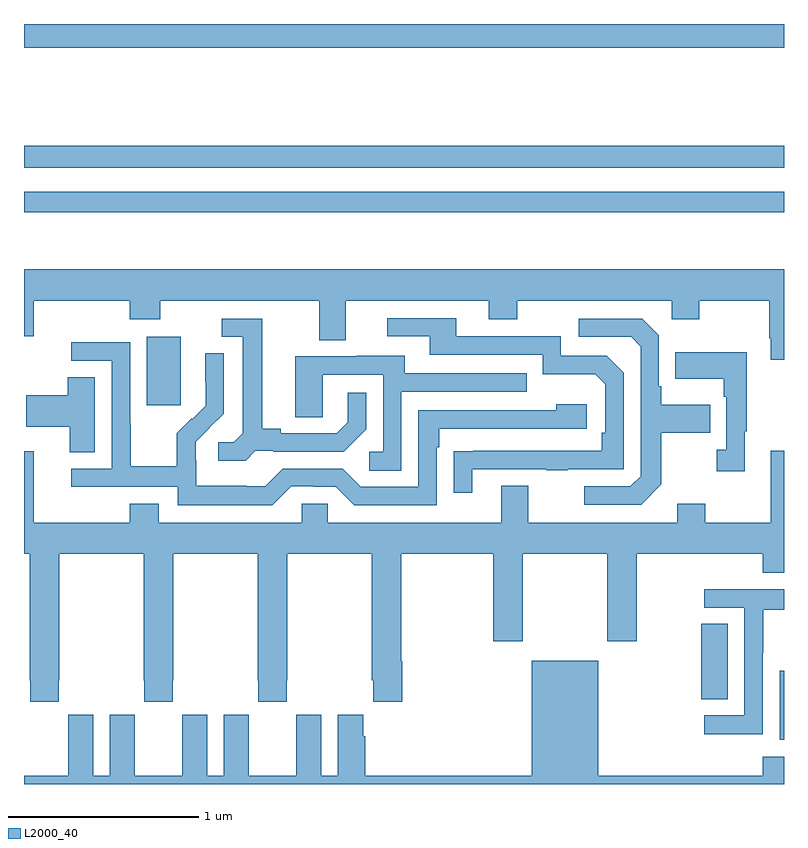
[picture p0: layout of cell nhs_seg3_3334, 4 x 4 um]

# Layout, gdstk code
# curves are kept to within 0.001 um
import gdstk
lib = gdstk.Library(unit=1e-6, precision=1e-09)
def R(c, l, rs):  # rectangles x0, y0, x1, y1
    for r in rs: c.add(gdstk.rectangle(r[:2], r[2:], *l))
def P(c, l, *ps):  # polygons
    for p in ps: c.add(gdstk.Polygon(p, *l))
L2000_40 = (2000, 40)

nhs_seg3_3334 = lib.new_cell('nhs_seg3_3334')
R(nhs_seg3_3334, L2000_40, [(288.977,670.634,289,670.995), (288.565,670.846,288.703,671.243), (285.647,672.393,285.826,672.754), (285,673.41,289,673.518), (285,673.644,289,673.76), (285,674.276,289,674.4)])
P(nhs_seg3_3334, L2000_40, [(285,672.756),(285.052,672.756),(285.052,672.944),(285.557,672.944),(285.557,672.845),(285.717,672.845),(285.717,672.944),(286.553,672.944),(286.553,672.736),(286.693,672.736),(286.693,672.944),(287.447,672.944),(287.447,672.845),(287.595,672.845),(287.595,672.944),(288.408,672.944),(288.408,672.845),(288.555,672.845),(288.555,672.944),(288.922,672.944),(288.922,672.745),(288.929,672.745),(288.929,672.633),(289,672.633),(289,673.108),(285,673.108)],
  [(287.359,672.057),(287.749,672.057),(287.749,672.052),(287.861,672.052),(287.861,672.057),(288.156,672.057),(288.156,672.564),(288.066,672.654),(287.826,672.654),(287.826,672.756),(287.275,672.756),(287.275,672.852),(286.911,672.852),(286.911,672.756),(287.135,672.756),(287.135,672.66),(287.73,672.66),(287.73,672.557),(288.007,672.557),(288.06,672.504),(288.06,672.25),(288.04,672.25),(288.04,672.153),(287.263,672.152),(287.263,671.934),(287.359,671.934)],
  [(288.355,671.977),(288.355,672.25),(288.611,672.25),(288.611,672.397),(288.355,672.397),(288.355,672.493),(288.342,672.493),(288.342,672.762),(288.255,672.849),(287.919,672.849),(287.919,672.753),(288.195,672.753),(288.246,672.702),(288.246,672.021),(288.192,671.967),(287.949,671.967),(287.949,671.871),(288.249,671.871)],
  [(286.218,672.153),(286.312,672.153),(286.312,672.15),(286.684,672.15),(286.8,672.266),(286.8,672.46),(286.703,672.46),(286.703,672.303),(286.646,672.246),(286.351,672.246),(286.351,672.269),(286.255,672.269),(286.255,672.849),(286.041,672.849),(286.041,672.753),(286.151,672.753),(286.151,672.245),(286.104,672.198),(286.023,672.198),(286.023,672.101),(286.166,672.101)],
  [(286.407,671.967),(286.523,671.967),(286.523,671.964),(286.641,671.964),(286.737,671.868),(287.172,671.868),(287.172,672.173),(287.185,672.173),(287.185,672.27),(287.962,672.27),(287.962,672.4),(287.801,672.4),(287.801,672.366),(287.076,672.366),(287.076,671.964),(286.773,671.964),(286.677,672.06),(286.362,672.06),(286.269,671.967),(286.169,671.967),(286.169,671.971),(285.906,671.971),(285.906,672.105),(285.904,672.105),(285.904,672.202),(286.05,672.35),(286.05,672.668),(285.954,672.668),(285.954,672.514),(285.956,672.514),(285.956,672.392),(285.885,672.321),(285.882,672.324),(285.805,672.247),(285.805,672.073),(285.561,672.073),(285.561,672.296),(285.558,672.296),(285.558,672.726),(285.249,672.726),(285.249,672.627),(285.462,672.627),(285.462,672.06),(285.249,672.06),(285.249,671.964),(285.81,671.964),(285.81,671.867),(286.307,671.867)],
  [(288.793,672.257),(288.805,672.257),(288.805,672.673),(288.427,672.673),(288.427,672.533),(288.684,672.533),(288.684,672.437),(288.696,672.437),(288.696,672.158),(288.645,672.158),(288.645,672.045),(288.793,672.045)],
  [(286.986,672.465),(287.645,672.465),(287.645,672.561),(287.005,672.561),(287.005,672.655),(286.751,672.655),(286.751,672.651),(286.427,672.651),(286.427,672.331),(286.572,672.331),(286.572,672.555),(286.89,672.555),(286.89,672.15),(286.818,672.15),(286.818,672.049),(286.986,672.049)],
  [(285.373,672.542),(285.23,672.542),(285.23,672.447),(285.012,672.447),(285.012,672.281),(285.242,672.281),(285.242,672.145),(285.373,672.145)],
  [(285.709,671.875),(285.557,671.875),(285.557,671.776),(285.052,671.776),(285.052,672.151),(285,672.151),(285,671.612),(285.031,671.612),(285.031,670.945),(285.033,670.945),(285.033,670.833),(285.183,670.833),(285.183,670.945),(285.186,670.945),(285.186,671.612),(285.631,671.612),(285.631,670.945),(285.633,670.945),(285.633,670.833),(285.783,670.833),(285.783,670.945),(285.786,670.945),(285.786,671.612),(286.231,671.612),(286.231,670.945),(286.233,670.945),(286.233,670.833),(286.383,670.833),(286.383,670.945),(286.386,670.945),(286.386,671.612),(286.831,671.612),(286.831,670.945),(286.837,670.945),(286.837,670.833),(286.991,670.833),(286.991,671.045),(286.986,671.045),(286.986,671.612),(287.47,671.612),(287.47,671.151),(287.625,671.151),(287.625,671.612),(288.07,671.612),(288.07,671.151),(288.225,671.151),(288.225,671.612),(288.887,671.612),(288.887,671.513),(289,671.513),(289,672.154),(288.929,672.154),(288.929,671.776),(288.585,671.776),(288.585,671.875),(288.437,671.875),(288.437,671.776),(287.653,671.776),(287.653,671.971),(287.513,671.971),(287.513,671.776),(286.599,671.776),(286.599,671.874),(286.461,671.874),(286.461,671.776),(285.709,671.776)],
  [(288.888,671.092),(288.891,671.092),(288.891,671.316),(289,671.316),(289,671.424),(288.579,671.424),(288.579,671.328),(288.792,671.328),(288.792,670.761),(288.579,670.761),(288.579,670.663),(288.888,670.663)],
  [(289,670.543),(288.887,670.543),(288.887,670.444),(288.022,670.444),(288.022,671.05),(287.672,671.05),(287.672,670.444),(286.796,670.444),(286.796,670.652),(286.786,670.652),(286.786,670.765),(286.652,670.765),(286.652,670.444),(286.564,670.444),(286.564,670.765),(286.434,670.765),(286.434,670.652),(286.433,670.652),(286.433,670.444),(286.183,670.444),(286.183,670.652),(286.182,670.652),(286.182,670.765),(286.052,670.765),(286.052,670.444),(285.964,670.444),(285.964,670.765),(285.834,670.765),(285.834,670.652),(285.833,670.652),(285.833,670.444),(285.583,670.444),(285.583,670.652),(285.582,670.652),(285.582,670.765),(285.452,670.765),(285.452,670.444),(285.364,670.444),(285.364,670.765),(285.234,670.765),(285.234,670.652),(285.233,670.652),(285.233,670.444),(285,670.444),(285,670.4),(289,670.4)])

lib.write_gds('nhs_seg3_3334.gds')
